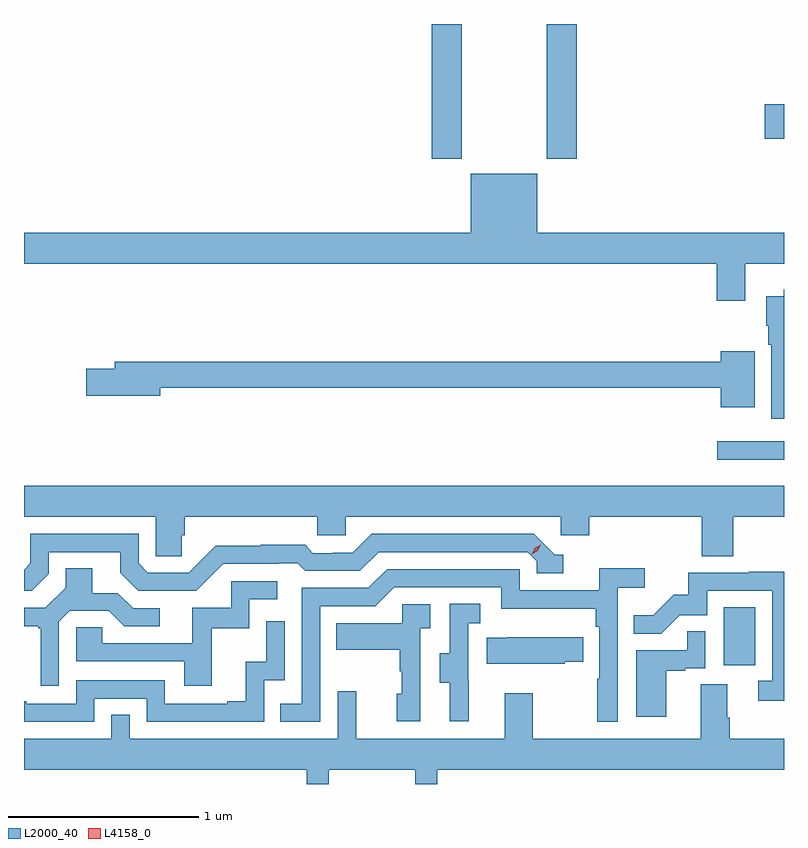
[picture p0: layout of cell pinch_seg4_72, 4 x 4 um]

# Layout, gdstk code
import gdstk
lib = gdstk.Library(unit=1e-6, precision=1e-09)
def R(c, l, rs):  # rectangles x0, y0, x1, y1
    for r in rs: c.add(gdstk.rectangle(r[:2], r[2:], *l))
def P(c, l, *ps):  # polygons
    for p in ps: c.add(gdstk.Polygon(p, *l))
L2000_40 = (2000, 40)
L4158_0 = (4158, 0)

pinch_seg4_72 = lib.new_cell('pinch_seg4_72')
R(pinch_seg4_72, L2000_40, [(1037.822,812.022,1037.986,812.329), (1037.787,813.104,1038.138,813.201), (1036.283,814.689,1036.443,815.398), (1036.888,814.689,1037.048,815.398), (1038.036,814.793,1038.138,814.976)])
P(pinch_seg4_72, L2000_40, [(1037.935,814.136),(1038.138,814.136),(1038.138,814.3),(1036.84,814.3),(1036.84,814.609),(1036.49,814.609),(1036.49,814.3),(1034.138,814.3),(1034.138,814.136),(1037.783,814.136),(1037.783,813.942),(1037.935,813.942)],
  [(1038.138,814),(1038.137,814),(1038.137,813.964),(1038.044,813.964),(1038.044,813.81),(1038.056,813.81),(1038.056,813.71),(1038.071,813.71),(1038.071,813.321),(1038.138,813.321)],
  [(1037.983,813.676),(1037.804,813.676),(1037.804,813.62),(1034.615,813.62),(1034.615,813.584),(1034.466,813.584),(1034.466,813.442),(1034.854,813.442),(1034.854,813.484),(1037.804,813.484),(1037.804,813.38),(1037.983,813.38)],
  [(1034.969,812.706),(1034.984,812.706),(1034.984,812.804),(1035.681,812.804),(1035.681,812.706),(1035.831,812.706),(1035.831,812.804),(1036.962,812.804),(1036.962,812.706),(1037.114,812.706),(1037.114,812.804),(1037.705,812.804),(1037.705,812.596),(1037.87,812.596),(1037.87,812.804),(1038.138,812.804),(1038.138,812.968),(1034.138,812.968),(1034.138,812.804),(1034.832,812.804),(1034.832,812.596),(1034.969,812.596)],
  [(1034.268,812.505),(1034.268,812.619),(1034.645,812.619),(1034.645,812.509),(1034.739,812.415),(1035.045,812.415),(1035.186,812.556),(1035.479,812.556),(1035.479,812.559),(1035.578,812.559),(1035.617,812.52),(1035.906,812.52),(1036.005,812.619),(1036.788,812.619),(1036.836,812.571),(1036.836,812.508),(1036.975,812.508),(1036.975,812.604),(1036.932,812.604),(1036.821,812.715),(1035.968,812.715),(1035.869,812.616),(1035.762,812.616),(1035.762,812.613),(1035.659,812.613),(1035.617,812.656),(1035.384,812.656),(1035.384,812.653),(1035.148,812.653),(1035.006,812.511),(1034.79,812.511),(1034.742,812.559),(1034.742,812.715),(1034.172,812.715),(1034.172,812.559),(1034.138,812.525),(1034.138,812.415),(1034.178,812.415)],
  [(1034.322,812.253),(1034.379,812.31),(1034.585,812.31),(1034.666,812.229),(1034.853,812.229),(1034.853,812.322),(1034.712,812.322),(1034.632,812.402),(1034.497,812.402),(1034.497,812.534),(1034.357,812.534),(1034.357,812.432),(1034.25,812.325),(1034.138,812.325),(1034.138,812.228),(1034.214,812.228),(1034.214,812.217),(1034.225,812.217),(1034.225,811.914),(1034.322,811.914)],
  [(1035.696,812.334),(1035.987,812.334),(1036.086,812.433),(1036.65,812.433),(1036.65,812.321),(1037.146,812.321),(1037.146,812.225),(1037.166,812.225),(1037.166,811.952),(1037.154,811.952),(1037.154,811.725),(1037.262,811.725),(1037.262,812.432),(1037.404,812.432),(1037.404,812.534),(1037.165,812.534),(1037.165,812.418),(1036.746,812.418),(1036.746,812.529),(1036.049,812.529),(1035.95,812.43),(1035.6,812.43),(1035.6,811.821),(1035.487,811.821),(1035.487,811.725),(1035.696,811.725)],
  [(1038.138,812.516),(1037.953,812.516),(1037.953,812.511),(1037.635,812.511),(1037.635,812.394),(1037.558,812.394),(1037.451,812.287),(1037.347,812.287),(1037.347,812.188),(1037.491,812.188),(1037.589,812.286),(1037.733,812.286),(1037.733,812.415),(1038.075,812.415),(1038.075,811.941),(1038.003,811.941),(1038.003,811.836),(1038.138,811.836)],
  [(1035.125,812.217),(1035.324,812.217),(1035.324,812.37),(1035.472,812.37),(1035.472,812.466),(1035.228,812.466),(1035.228,812.325),(1035.023,812.325),(1035.023,812.139),(1034.549,812.139),(1034.549,812.223),(1034.412,812.223),(1034.412,812.043),(1034.981,812.043),(1034.981,811.914),(1035.125,811.914)],
  [(1036.478,811.941),(1036.476,811.941),(1036.476,812.245),(1036.54,812.245),(1036.54,812.348),(1036.38,812.348),(1036.38,812.085),(1036.325,812.085),(1036.325,811.93),(1036.379,811.93),(1036.379,811.728),(1036.478,811.728)],
  [(1036.224,812.219),(1036.276,812.219),(1036.276,812.343),(1036.128,812.343),(1036.128,812.245),(1035.781,812.245),(1035.781,812.105),(1036.116,812.105),(1036.116,811.991),(1036.126,811.991),(1036.126,811.872),(1036.1,811.872),(1036.1,811.728),(1036.224,811.728)],
  [(1034.508,811.848),(1034.784,811.848),(1034.784,811.725),(1035.402,811.725),(1035.402,811.944),(1035.51,811.944),(1035.51,812.254),(1035.414,812.254),(1035.414,812.042),(1035.305,812.042),(1035.305,811.834),(1035.209,811.834),(1035.209,811.821),(1034.88,811.821),(1034.88,811.944),(1034.412,811.944),(1034.412,811.821),(1034.149,811.821),(1034.149,811.834),(1034.138,811.834),(1034.138,811.725),(1034.508,811.725)],
  [(1037.518,811.995),(1037.618,811.995),(1037.618,812.007),(1037.724,812.007),(1037.724,812.201),(1037.629,812.201),(1037.629,812.103),(1037.36,812.103),(1037.36,811.752),(1037.518,811.752)],
  [(1036.983,812.041),(1037.081,812.041),(1037.081,812.17),(1036.681,812.17),(1036.681,812.167),(1036.573,812.167),(1036.573,812.03),(1036.983,812.03)],
  [(1035.743,811.472),(1036.196,811.472),(1036.196,811.398),(1036.313,811.398),(1036.313,811.472),(1038.138,811.472),(1038.138,811.636),(1037.852,811.636),(1037.852,811.748),(1037.839,811.748),(1037.839,811.922),(1037.699,811.922),(1037.699,811.636),(1036.815,811.636),(1036.815,811.876),(1036.667,811.876),(1036.667,811.636),(1035.887,811.636),(1035.887,811.885),(1035.789,811.885),(1035.789,811.636),(1034.694,811.636),(1034.694,811.763),(1034.598,811.763),(1034.598,811.636),(1034.138,811.636),(1034.138,811.472),(1035.625,811.472),(1035.625,811.398),(1035.743,811.398)])
P(pinch_seg4_72, L4158_0, [(1036.811,812.606),(1036.811,812.606),(1036.827,812.639),(1036.858,812.658),(1036.858,812.658),(1036.858,812.658),(1036.842,812.625),(1036.811,812.606)])

lib.write_gds('pinch_seg4_72.gds')
